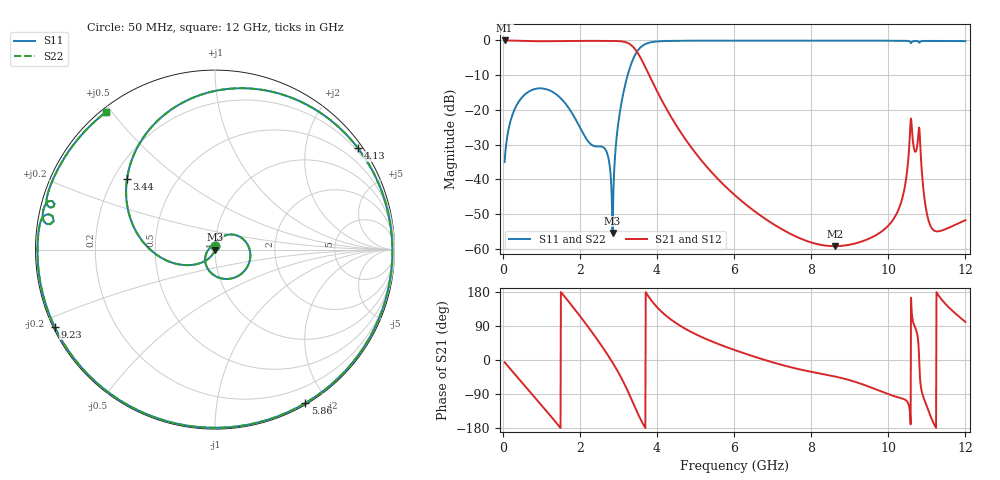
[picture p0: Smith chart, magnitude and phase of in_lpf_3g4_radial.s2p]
! kicad2ems mom25d 2.5D MoM (f)
! ports: 1=P1, 2=P2
# Hz S RI R 50
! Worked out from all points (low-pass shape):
!   1196 points, 50 MHz to 12 GHz, reference 50 ohm
!   highest |S21| = -0.01 dB at 50 MHz (marker M1); lowest = -59.3 dB at 8.61 GHz (marker M2)
!   |S21| within 3 dB of the highest: start of sweep to 3.466 GHz
!   lowest |S11| = -55.5 dB at 2.85 GHz (marker M3), VSWR 1.00, Z = 49.8 + j0.00489 ohm
!   |S11| at or under -10 dB: start of sweep to 3.241 GHz
!   |S22| runs from -55.8 to -0.1 dB; largest |S21 - S12| = 0
!   S11 on the Smith chart (normalised r, x): 50 MHz: 1.00, +0.04; 3.44 GHz: 0.26, +0.33; 4.13 GHz: 0.13, +3.13; 5.86 GHz: 0.02, -1.75; 9.23 GHz: 0.00, -0.23; 12 GHz: 0.01, +0.49
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5e7  0.00246 0.0176  0.9935 -0.105  0.9935 -0.105  0.00246 0.0176
8.8e8  0.1956 -0.051  -0.2432 -0.9433  -0.2432 -0.9433  0.1956 -0.051
1.49e9  0.00578 -0.1496  -0.98 -0.0331  -0.98 -0.0331  0.00584 -0.1496
2.05e9  -0.0469 -0.0172  -0.3333 0.9288  -0.3333 0.9288  -0.0469 -0.0173
2.68e9  -0.00922 0.0242  0.9229 0.3404  0.9229 0.3404  -0.0092 0.0242
2.85e9  -0.00168 4.91e-05  0.975 -0.1168  0.975 -0.1168  -0.00161 4.45e-05
3.06e9  -0.0795 -0.0742  0.6994 -0.6747  0.6994 -0.6747  -0.0794 -0.0742
3.44e9  -0.4906 0.3915  -0.4441 -0.5925  -0.4441 -0.5925  -0.4907 0.3913
3.7e9  0.0117 0.8863  -0.4115 -0.00468  -0.4115 -0.00468  0.0115 0.8863
4.04e9  0.694 0.6779  -0.1208 0.1188  -0.1208 0.1188  0.6939 0.6779
4.13e9  0.7958 0.5661  -0.0809 0.1092  -0.0809 0.1092  0.7957 0.5661
5.86e9  0.5028 -0.8552  0.00603 0.00377  0.00603 0.00377  0.5029 -0.8552
6.03e9  0.4096 -0.9038  0.00525 0.00254  0.00525 0.00254  0.4096 -0.9038
8.02e9  -0.551 -0.8256  0.00104 -0.000638  0.00104 -0.000638  -0.5509 -0.8256
8.61e9  -0.746 -0.6542  0.00079 -0.000747  0.00079 -0.000747  -0.746 -0.6542
9.23e9  -0.894 -0.4286  0.000603 -0.00107  0.000603 -0.00107  -0.894 -0.4286
1.001e10  -0.9852 -0.0947  -2.08e-05 -0.00218  -2.08e-05 -0.00218  -0.9852 -0.0948
1.038e10  -0.985 0.081  -0.00123 -0.00565  -0.00123 -0.00565  -0.985 0.0809
1.06e10  -0.918 0.1411  -0.0522 0.0425  -0.0522 0.0425  -0.9189 0.1419
1.081e10  -0.9015 0.2382  0.0476 -0.0183  0.0476 -0.0183  -0.9004 0.2379
1.112e10  -0.8959 0.4058  -0.0018 -0.000875  -0.0018 -0.000875  -0.8959 0.4058
1.2e10  -0.6051 0.7677  -0.000466 0.00254  -0.000466 0.00254  -0.6051 0.7677
